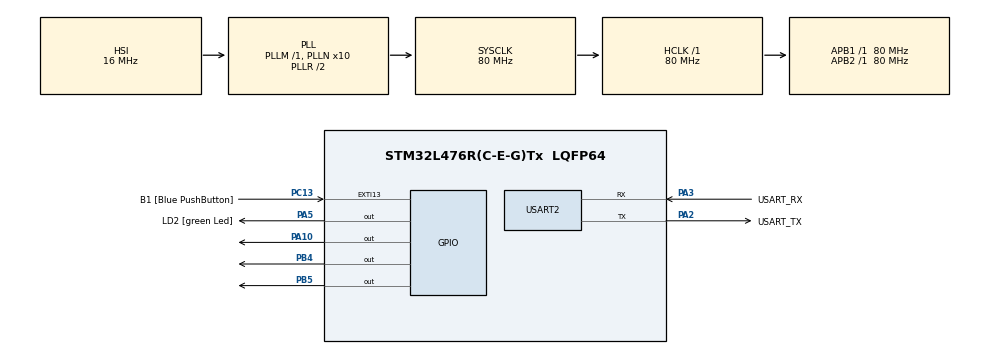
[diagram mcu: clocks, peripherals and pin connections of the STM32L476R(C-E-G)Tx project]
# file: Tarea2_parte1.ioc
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FREERTOS.Tasks01=Task1,24,128,StartTask01,Default,NULL,Dynamic,NULL,NULL;Task2,24,128,StartTask02,Default,NULL,Dynamic,NULL,NULL;Task03,32,128,StartTask03,Default,NULL,Dynamic,NULL,NULL
FREERTOS.configUSE_NEWLIB_REENTRANT=1
Mcu.Family=STM32L4
Mcu.Name=STM32L476R(C-E-G)Tx
Mcu.Package=LQFP64
NVIC.PriorityGroup=NVIC_PRIORITYGROUP_4
NVIC.TIM6_DAC_IRQn=true\:15\:0\:false\:false\:true\:false\:false\:true\:true
NVIC.TimeBase=TIM6_DAC_IRQn
NVIC.TimeBaseIP=TIM6
PA10.Signal=GPIO_Output
PA13\ (JTMS-SWDIO).GPIO_Label=TMS
PA13\ (JTMS-SWDIO).Mode=Serial_Wire
PA13\ (JTMS-SWDIO).Signal=SYS_JTMS-SWDIO
PA14\ (JTCK-SWCLK).GPIO_Label=TCK
PA14\ (JTCK-SWCLK).Mode=Serial_Wire
PA14\ (JTCK-SWCLK).Signal=SYS_JTCK-SWCLK
PA2.GPIO_Label=USART_TX
PA2.GPIO_Mode=GPIO_MODE_AF_PP
PA2.GPIO_PuPd=GPIO_NOPULL
PA2.GPIO_Speed=GPIO_SPEED_FREQ_VERY_HIGH
PA2.Mode=Asynchronous
PA2.Signal=USART2_TX
PA3.GPIO_Label=USART_RX
PA3.GPIO_Mode=GPIO_MODE_AF_PP
PA3.GPIO_PuPd=GPIO_NOPULL
PA3.GPIO_Speed=GPIO_SPEED_FREQ_VERY_HIGH
PA3.Mode=Asynchronous
PA3.Signal=USART2_RX
PA5.GPIO_Label=LD2 [green Led]
PA5.GPIO_ModeDefaultOutputPP=GPIO_MODE_OUTPUT_PP
PA5.GPIO_PuPd=GPIO_NOPULL
PA5.GPIO_Speed=GPIO_SPEED_FREQ_LOW
PA5.Signal=GPIO_Output
PB3\ (JTDO-TRACESWO).GPIO_Label=SWO
PB3\ (JTDO-TRACESWO).Signal=SYS_JTDO-SWO
PB4\ (NJTRST).Signal=GPIO_Output
PB5.Signal=GPIO_Output
PC13.GPIO_Label=B1 [Blue PushButton]
PC13.GPIO_ModeDefaultEXTI=GPIO_MODE_IT_FALLING
PC13.GPIO_PuPd=GPIO_NOPULL
PC13.Signal=GPXTI13
PC14-OSC32_IN\ (PC14).Mode=LSE-External-Oscillator
PC14-OSC32_IN\ (PC14).Signal=RCC_OSC32_IN
PC15-OSC32_OUT\ (PC15).Mode=LSE-External-Oscillator
PC15-OSC32_OUT\ (PC15).Signal=RCC_OSC32_OUT
PH0-OSC_IN\ (PH0).Signal=RCC_OSC_IN
PH1-OSC_OUT\ (PH1).Signal=RCC_OSC_OUT
ProjectManager.HeapSize=0x200
ProjectManager.StackSize=0x400
ProjectManager.TargetToolchain=STM32CubeIDE
RCC.ADCFreq_Value=64000000
RCC.AHBFreq_Value=80000000
RCC.APB1Freq_Value=80000000
RCC.APB1TimFreq_Value=80000000
RCC.APB2Freq_Value=80000000
RCC.APB2TimFreq_Value=80000000
RCC.CortexFreq_Value=80000000
RCC.HCLKFreq_Value=80000000
RCC.HSE_VALUE=8000000
RCC.HSI_VALUE=16000000
RCC.MSI_VALUE=4000000
RCC.PLLN=10
RCC.PLLSourceVirtual=RCC_PLLSOURCE_HSI
RCC.PREFETCH_ENABLE=1
RCC.SYSCLKFreq_VALUE=80000000
RCC.SYSCLKSource=RCC_SYSCLKSOURCE_PLLCLK
RCC.USBFreq_Value=64000000
RCC.VCOOutputFreq_Value=160000000
USART2.VirtualMode-Asynchronous=VM_ASYNC
VP_FREERTOS_VS_CMSIS_V2.Mode=CMSIS_V2
VP_SYS_VS_tim6.Mode=TIM6
board=NUCLEO-L476RG

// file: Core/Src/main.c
/* USER CODE BEGIN Header */
/**
  ******************************************************************************
  * @file           : main.c
  * @brief          : Main program body
  ******************************************************************************
  * @attention
  *
  * Copyright (c) 2026 STMicroelectronics.
  * All rights reserved.
  *
  * This software is licensed under terms that can be found in the LICENSE file
  * in the root directory of this software component.
  * If no LICENSE file comes with this software, it is provided AS-IS.
  *
  ******************************************************************************
  */
/* USER CODE END Header */
#include "main.h"
#include "cmsis_os.h"

UART_HandleTypeDef huart2;

/* Definitions for Task1 */
osThreadId_t Task1Handle;
const osThreadAttr_t Task1_attributes = {
  .name = "Task1",
  .stack_size = 128 * 4,
  .priority = (osPriority_t) osPriorityNormal,
};
/* Definitions for Task2 */
osThreadId_t Task2Handle;
const osThreadAttr_t Task2_attributes = {
  .name = "Task2",
  .stack_size = 128 * 4,
  .priority = (osPriority_t) osPriorityNormal,
};
/* Definitions for Task03 */
osThreadId_t Task03Handle;
const osThreadAttr_t Task03_attributes = {
  .name = "Task03",
  .stack_size = 128 * 4,
  .priority = (osPriority_t) osPriorityAboveNormal,
};

void SystemClock_Config(void);
static void MX_GPIO_Init(void);
static void MX_USART2_UART_Init(void);
void StartTask01(void *argument);
void StartTask02(void *argument);
void StartTask03(void *argument);

int main(void)
{

  /* MCU Configuration--------------------------------------------------------*/

  /* Reset of all peripherals, Initializes the Flash interface and the Systick. */
  HAL_Init();

  /* Configure the system clock */
  SystemClock_Config();

  /* Initialize all configured peripherals */
  MX_GPIO_Init();
  MX_USART2_UART_Init();

  /* Init scheduler */
  osKernelInitialize();

  /* Create the thread(s) */
  /* creation of Task1 */
  Task1Handle = osThreadNew(StartTask01, NULL, &Task1_attributes);

  /* creation of Task2 */
  Task2Handle = osThreadNew(StartTask02, NULL, &Task2_attributes);

  /* creation of Task03 */
  Task03Handle = osThreadNew(StartTask03, NULL, &Task03_attributes);

  /* Start scheduler */
  osKernelStart();

  /* We should never get here as control is now taken by the scheduler */

  /* Infinite loop */
  while (1)
  {

  }
}

void SystemClock_Config(void)
{
  RCC_OscInitTypeDef RCC_OscInitStruct = {0};
  RCC_ClkInitTypeDef RCC_ClkInitStruct = {0};

  /** Configure the main internal regulator output voltage
  */
  if (HAL_PWREx_ControlVoltageScaling(PWR_REGULATOR_VOLTAGE_SCALE1) != HAL_OK)
  {
    Error_Handler();
  }

  /** Initializes the RCC Oscillators according to the specified parameters
  * in the RCC_OscInitTypeDef structure.
  */
  RCC_OscInitStruct.OscillatorType = RCC_OSCILLATORTYPE_HSI;
  RCC_OscInitStruct.HSIState = RCC_HSI_ON;
  RCC_OscInitStruct.HSICalibrationValue = RCC_HSICALIBRATION_DEFAULT;
  RCC_OscInitStruct.PLL.PLLState = RCC_PLL_ON;
  RCC_OscInitStruct.PLL.PLLSource = RCC_PLLSOURCE_HSI;
  RCC_OscInitStruct.PLL.PLLM = 1;
  RCC_OscInitStruct.PLL.PLLN = 10;
  RCC_OscInitStruct.PLL.PLLP = RCC_PLLP_DIV7;
  RCC_OscInitStruct.PLL.PLLQ = RCC_PLLQ_DIV2;
  RCC_OscInitStruct.PLL.PLLR = RCC_PLLR_DIV2;
  if (HAL_RCC_OscConfig(&RCC_OscInitStruct) != HAL_OK)
  {
    Error_Handler();
  }

  /** Initializes the CPU, AHB and APB buses clocks
  */
  RCC_ClkInitStruct.ClockType = RCC_CLOCKTYPE_HCLK|RCC_CLOCKTYPE_SYSCLK
                              |RCC_CLOCKTYPE_PCLK1|RCC_CLOCKTYPE_PCLK2;
  RCC_ClkInitStruct.SYSCLKSource = RCC_SYSCLKSOURCE_PLLCLK;
  RCC_ClkInitStruct.AHBCLKDivider = RCC_SYSCLK_DIV1;
  RCC_ClkInitStruct.APB1CLKDivider = RCC_HCLK_DIV1;
  RCC_ClkInitStruct.APB2CLKDivider = RCC_HCLK_DIV1;

  if (HAL_RCC_ClockConfig(&RCC_ClkInitStruct, FLASH_LATENCY_4) != HAL_OK)
  {
    Error_Handler();
  }
}

static void MX_USART2_UART_Init(void)
{

  huart2.Instance = USART2;
  huart2.Init.BaudRate = 115200;
  huart2.Init.WordLength = UART_WORDLENGTH_8B;
  huart2.Init.StopBits = UART_STOPBITS_1;
  huart2.Init.Parity = UART_PARITY_NONE;
  huart2.Init.Mode = UART_MODE_TX_RX;
  huart2.Init.HwFlowCtl = UART_HWCONTROL_NONE;
  huart2.Init.OverSampling = UART_OVERSAMPLING_16;
  huart2.Init.OneBitSampling = UART_ONE_BIT_SAMPLE_DISABLE;
  huart2.AdvancedInit.AdvFeatureInit = UART_ADVFEATURE_NO_INIT;
  if (HAL_UART_Init(&huart2) != HAL_OK)
  {
    Error_Handler();
  }

}

static void MX_GPIO_Init(void)
{
  GPIO_InitTypeDef GPIO_InitStruct = {0};

  /* GPIO Ports Clock Enable */
  __HAL_RCC_GPIOC_CLK_ENABLE();
  __HAL_RCC_GPIOH_CLK_ENABLE();
  __HAL_RCC_GPIOA_CLK_ENABLE();
  __HAL_RCC_GPIOB_CLK_ENABLE();

  /*Configure GPIO pin Output Level */
  HAL_GPIO_WritePin(GPIOA, LD2_Pin|GPIO_PIN_10, GPIO_PIN_RESET);

  /*Configure GPIO pin Output Level */
  HAL_GPIO_WritePin(GPIOB, GPIO_PIN_4|GPIO_PIN_5, GPIO_PIN_RESET);

  /*Configure GPIO pin : B1_Pin */
  GPIO_InitStruct.Pin = B1_Pin;
  GPIO_InitStruct.Mode = GPIO_MODE_IT_FALLING;
  GPIO_InitStruct.Pull = GPIO_NOPULL;
  HAL_GPIO_Init(B1_GPIO_Port, &GPIO_InitStruct);

  /*Configure GPIO pins : LD2_Pin PA10 */
  GPIO_InitStruct.Pin = LD2_Pin|GPIO_PIN_10;
  GPIO_InitStruct.Mode = GPIO_MODE_OUTPUT_PP;
  GPIO_InitStruct.Pull = GPIO_NOPULL;
  GPIO_InitStruct.Speed = GPIO_SPEED_FREQ_LOW;
  HAL_GPIO_Init(GPIOA, &GPIO_InitStruct);

  /*Configure GPIO pins : PB4 PB5 */
  GPIO_InitStruct.Pin = GPIO_PIN_4|GPIO_PIN_5;
  GPIO_InitStruct.Mode = GPIO_MODE_OUTPUT_PP;
  GPIO_InitStruct.Pull = GPIO_NOPULL;
  GPIO_InitStruct.Speed = GPIO_SPEED_FREQ_LOW;
  HAL_GPIO_Init(GPIOB, &GPIO_InitStruct);

}

void StartTask01(void *argument)
{
  /* USER CODE BEGIN 5 */
	uint32_t tick = osKernelGetTickCount();
	const uint32_t period = 100; // 100 ms
  /* Infinite loop */
  for(;;)
  {
	  HAL_GPIO_WritePin(GPIOA, GPIO_PIN_10, GPIO_PIN_SET);
	  osDelay(10);
	  HAL_GPIO_WritePin(GPIOA, GPIO_PIN_10, GPIO_PIN_RESET);
	  tick += period;
	  osDelayUntil(tick);
  }
  /* USER CODE END 5 */
}

void StartTask02(void *argument)
{
  /* USER CODE BEGIN StartTask02 */
	uint32_t tick = osKernelGetTickCount();
	const uint32_t period = 200; // 200 ms
  /* Infinite loop */
  for(;;)
  {
	  HAL_GPIO_WritePin(GPIOB, GPIO_PIN_5, GPIO_PIN_SET);
	  osDelay(20);
	  HAL_GPIO_WritePin(GPIOB, GPIO_PIN_5, GPIO_PIN_RESET);
	  tick += period;
	  osDelayUntil(tick);
  }
  /* USER CODE END StartTask02 */
}

void StartTask03(void *argument)
{
  /* USER CODE BEGIN StartTask03 */
  uint32_t startTick;
  uint32_t duration = 1000;   // tiempo de carga en ms
  uint32_t sleepTime = 5000; // tiempo en reposo en ms

  for(;;)
  {
    HAL_GPIO_WritePin(GPIOB, GPIO_PIN_4, GPIO_PIN_SET);
    startTick = osKernelGetTickCount();						// Guardar tiempo inicial
    while((osKernelGetTickCount() - startTick) < duration)
    {
      __NOP();
    }
    HAL_GPIO_WritePin(GPIOB, GPIO_PIN_4, GPIO_PIN_RESET);
    osDelay(sleepTime);										// Liberar CPU
  }

  /* USER CODE END StartTask03 */
}

void HAL_TIM_PeriodElapsedCallback(TIM_HandleTypeDef *htim)
{
  if (htim->Instance == TIM6)
  {
    HAL_IncTick();
  }
}

void Error_Handler(void)
{
  __disable_irq();
  while (1)
  {
  }
}
